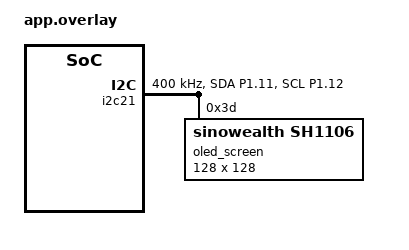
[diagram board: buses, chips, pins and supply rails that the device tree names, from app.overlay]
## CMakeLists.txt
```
cmake_minimum_required(VERSION 3.20.0)

# Import the core Zephyr build architecture standard hook definitions
find_package(Zephyr REQUIRED HINTS $ENV{ZEPHYR_BASE})

project(ble_ntp_time)

# Link your source application tracker files
target_sources(app PRIVATE src/main.c)
```

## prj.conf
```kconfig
# Core Hardware Peripherals
CONFIG_GPIO=y
CONFIG_I2C=y

# Enable the Universal Display Subsystem Core
CONFIG_DISPLAY=y
CONFIG_CHARACTER_FRAMEBUFFER=y
CONFIG_SSD1306=y
CONFIG_HEAP_MEM_POOL_SIZE=16384

# ====================================================================
# Bluetooth Low Energy (BLE) Configuration - CLEAN BASELINE
# ====================================================================
CONFIG_BT=y
CONFIG_BT_PERIPHERAL=y
CONFIG_BT_DEVICE_NAME="Paul_OLED_Node"
CONFIG_BT_DEVICE_APPEARANCE=0
```

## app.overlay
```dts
/*
 * Copyright (c) 2026 Paulus Schulinck (Github @PaulskPt)
 *
 * SPDX-License-Identifier: MIT
 * Note @PaulskPt: info from Google AI assistant:
 * Zephyr builtin driver: zephyr/drivers/display/ssd1306.c
 */

/ {
    aliases {
        my-i2c = &i2c21;
    };

    chosen {
        zephyr,display = &oled_screen;
    };
};

&pinctrl {
    i2c21_default: i2c21_default {
        group1 {
            psels = <NRF_PSEL(TWIM_SDA, 1, 11)>,  /* Port 1 Pin 11 */
                    <NRF_PSEL(TWIM_SCL, 1, 12)>;  /* Port 1 Pin 12 */
            bias-pull-up;
        };
    };

    i2c21_sleep: i2c21_sleep {
        group1 {
            psels = <NRF_PSEL(TWIM_SDA, 1, 11)>,
                    <NRF_PSEL(TWIM_SCL, 1, 12)>;
            low-power-enable;
        };
    };
};

&i2c21 {
    status = "okay";
    pinctrl-0 = <&i2c21_default>;
    pinctrl-1 = <&i2c21_sleep>;
    pinctrl-names = "default", "sleep";
    clock-frequency = <I2C_BITRATE_FAST>;

    zephyr,concat-buf-size = <256>;

    oled_screen: oled@3d {
        /* Native 128x128 vertical structural mapping driver profile */
        compatible = "sinowealth,sh1106";
        reg = <0x3d>;
        width = <128>;
        height = <128>;

        segment-offset = <0>;
        page-offset = <0>;
        display-offset = <0>;
        multiplex-ratio = <127>;
        prechargep = <0x22>;

        /* Keeps the letters reading correctly from left to right */
        segment-remap;
        com-invdir;
    };
};
```

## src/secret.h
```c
#ifndef SECRET_H_
#define SECRET_H_

#include <stdint.h>
#include <stddef.h>

/**
 * @brief Structure to define the exact boundaries of Summer Time (WEST) for a given year.
 */
struct west_boundary {
	uint32_t start_epoch;  /* Exact Epoch when Summer Time begins (GMT+1) */
	uint32_t end_epoch;    /* Exact Epoch when Summer Time ends (GMT+0) */
};

/* ==================================================================== */
/* AUTOMATED 10-YEAR PORTUGAL (EUROPE/LISBON) LOOKUP TABLE               */
/* ==================================================================== */
static const struct west_boundary west_table[] = {
	{ 1774832400, 1792938000 }, /* 2026: 2026-03-29 to 2026-10-25 */
	{ 1806368400, 1824982800 }, /* 2027: 2027-03-28 to 2027-10-31 */
	{ 1837386000, 1855914000 }, /* 2028: 2028-03-26 to 2028-10-29 */
	{ 1869440400, 1888054800 }, /* 2029: 2029-03-25 to 2029-10-28 */
	{ 1900976400, 1919590800 }, /* 2030: 2030-03-31 to 2030-10-27 */
	{ 1932512400, 1951126800 }, /* 2031: 2031-03-30 to 2031-10-26 */
	{ 1963443600, 1982672400 }, /* 2032: 2032-03-28 to 2032-10-31 */
	{ 1995584400, 2014198800 }, /* 2033: 2033-03-27 to 2033-10-30 */
	{ 2026515600, 2045744400 }, /* 2034: 2034-03-26 to 2034-10-29 */
	{ 2058570000, 2077184400 }, /* 2035: 2035-03-25 to 2035-10-28 */
};

/* Safely calculate the array row index bounds automatically */
#define WEST_TABLE_SIZE (sizeof(west_table) / sizeof(west_table[0]))

#endif /* SECRET_H_ */
```
